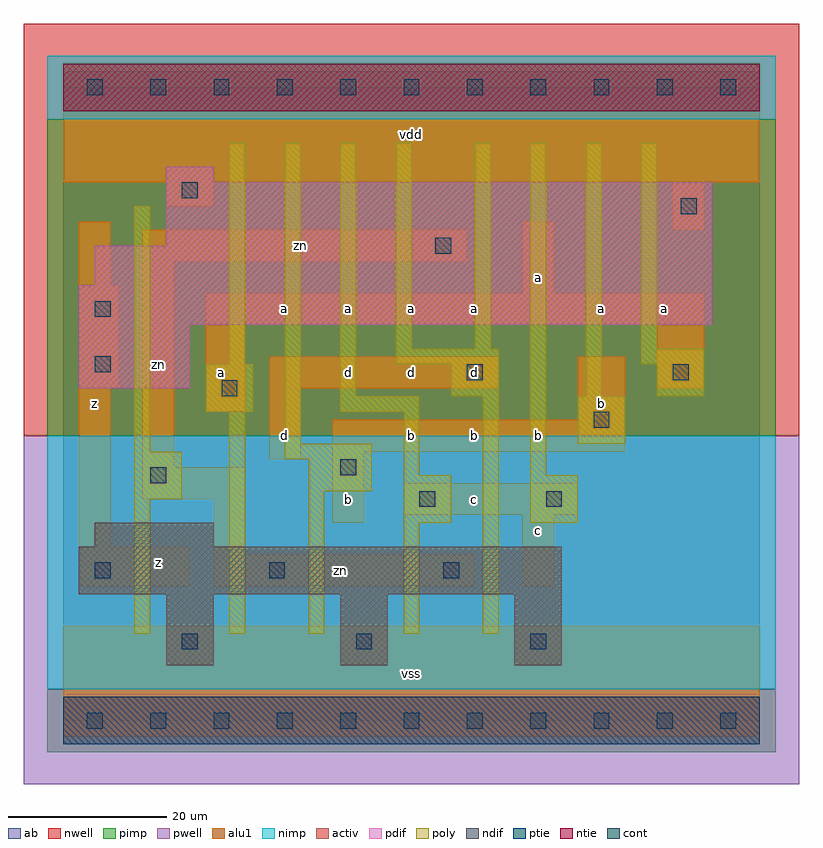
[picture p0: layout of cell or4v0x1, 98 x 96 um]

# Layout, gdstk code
import gdstk
lib = gdstk.Library(unit=1e-6, precision=1e-09)
def R(c, l, rs):  # rectangles x0, y0, x1, y1
    for r in rs: c.add(gdstk.rectangle(r[:2], r[2:], *l))
def A(c, l, x, y, w, h, nx, ny, dx, dy):  # array of equal rectangles
    R(c, l, [(x+i*dx, y+j*dy, x+i*dx+w, y+j*dy+h) for i in range(nx) for j in range(ny)])
ndif = (3, 0)
pdif = (4, 0)
ntie = (5, 0)
ptie = (6, 0)
cont = (25, 0)
pwell = (41, 0)
nwell = (42, 0)
activ = (43, 0)
pimp = (44, 0)
nimp = (45, 0)
poly = (46, 0)
alu1 = (49, 0)
ab = (63, 0)

or4v0x1 = lib.new_cell('or4v0x1')
A(or4v0x1, ndif, 13, 7, 6, 9, 3, 1, 22, 0)
R(or4v0x1, ndif, [(2,16,63,22), (4,22,19,25)])
R(or4v0x1, pdif, [(2,42,16,50), (2,50,82,55), (4,55,82,60), (13,60,82,68), (13,68,19,70)])
R(or4v0x1, ntie, [(0,77,88,83)])
R(or4v0x1, ptie, [(0,-3,88,3)])
A(or4v0x1, cont, 3, -1, 2, 2, 11, 2, 8, 80)
A(or4v0x1, cont, 15, 9, 2, 2, 3, 1, 22, 0)
A(or4v0x1, cont, 4, 18, 2, 2, 3, 1, 22, 0)
R(or4v0x1, cont, [(45,27,47,29), (61,27,63,29), (11,30,13,32), (35,31,37,33), (67,37,69,39), (20,41,22,43), (51,43,53,45), (77,43,79,45), (4,44,6,46), (4,51,6,53), (47,59,49,61), (78,64,80,66), (15,66,17,68)])
R(or4v0x1, pwell, [(-5,-8,93,36)])
R(or4v0x1, nwell, [(-5,36,93,88)])
A(or4v0x1, activ, 13, 7, 6, 9, 3, 1, 22, 0)
R(or4v0x1, activ, [(0,-3,88,3), (2,16,63,22), (4,22,19,25), (2,42,16,50), (2,50,82,55), (4,55,82,60), (13,60,82,68), (13,68,19,70), (0,77,88,83)])
R(or4v0x1, pimp, [(-2,-4,90,4), (-2,36,90,76)])
R(or4v0x1, nimp, [(-2,4,90,36), (-2,76,90,84)])
R(or4v0x1, poly, [(9,11,11,28), (21,11,23,39), (31,11,33,29), (43,11,45,25), (53,11,55,41), (43,25,49,31), (59,25,65,31), (9,28,15,34), (31,29,39,33), (43,31,45,39), (59,31,61,73), (28,33,39,35), (9,34,11,65), (28,35,30,73), (65,35,71,41), (18,39,24,45), (35,39,45,41), (35,41,37,73), (49,41,55,45), (66,41,68,73), (75,41,81,45), (21,45,23,73), (42,45,55,47), (73,45,81,47), (42,47,44,73), (52,47,54,73), (73,47,75,73)])
R(or4v0x1, alu1, [(0,-2,88,12), (2,17,16,22), (19,17,52,21), (58,17,62,26), (19,21,23,28), (2,22,6,42), (34,25,38,34), (43,26,65,30), (10,28,23,32), (10,32,14,58), (26,33,30,42), (34,34,71,38), (65,38,71,46), (18,39,23,50), (2,42,7,55), (26,42,55,46), (75,42,81,50), (18,50,81,54), (58,54,62,63), (2,55,6,63), (10,58,51,62), (77,62,81,68), (13,65,19,68), (0,68,88,82)])
R(or4v0x1, ab, [(0,0,88,80)])
or4v0x1.add(gdstk.Label('zn', (12,45), layer=49, texttype=0))
or4v0x1.add(gdstk.Label('zn', (35,19), layer=49, texttype=0))
or4v0x1.add(gdstk.Label('zn', (30,60), layer=49, texttype=0))
or4v0x1.add(gdstk.Label('z', (12,20), layer=49, texttype=0))
or4v0x1.add(gdstk.Label('z', (4,40), layer=49, texttype=0))
or4v0x1.add(gdstk.Label('b', (36,28), layer=49, texttype=0))
or4v0x1.add(gdstk.Label('d', (28,36), layer=49, texttype=0))
or4v0x1.add(gdstk.Label('d', (36,44), layer=49, texttype=0))
or4v0x1.add(gdstk.Label('a', (20,44), layer=49, texttype=0))
or4v0x1.add(gdstk.Label('a', (36,52), layer=49, texttype=0))
or4v0x1.add(gdstk.Label('a', (28,52), layer=49, texttype=0))
or4v0x1.add(gdstk.Label('vss', (44,6), layer=49, texttype=0))
or4v0x1.add(gdstk.Label('b', (44,36), layer=49, texttype=0))
or4v0x1.add(gdstk.Label('b', (60,36), layer=49, texttype=0))
or4v0x1.add(gdstk.Label('b', (52,36), layer=49, texttype=0))
or4v0x1.add(gdstk.Label('c', (60,24), layer=49, texttype=0))
or4v0x1.add(gdstk.Label('c', (52,28), layer=49, texttype=0))
or4v0x1.add(gdstk.Label('d', (52,44), layer=49, texttype=0))
or4v0x1.add(gdstk.Label('d', (44,44), layer=49, texttype=0))
or4v0x1.add(gdstk.Label('a', (44,52), layer=49, texttype=0))
or4v0x1.add(gdstk.Label('a', (52,52), layer=49, texttype=0))
or4v0x1.add(gdstk.Label('a', (60,56), layer=49, texttype=0))
or4v0x1.add(gdstk.Label('vdd', (44,74), layer=49, texttype=0))
or4v0x1.add(gdstk.Label('b', (68,40), layer=49, texttype=0))
or4v0x1.add(gdstk.Label('a', (68,52), layer=49, texttype=0))
or4v0x1.add(gdstk.Label('a', (76,52), layer=49, texttype=0))

lib.write_gds('or4v0x1.gds')
